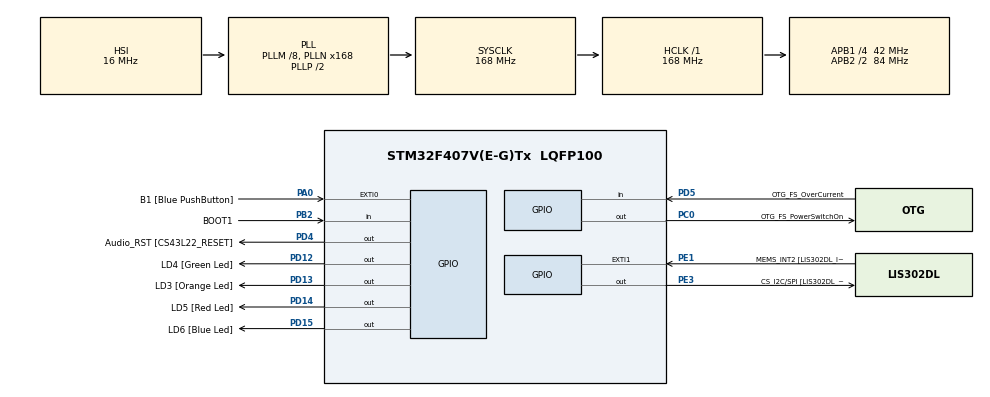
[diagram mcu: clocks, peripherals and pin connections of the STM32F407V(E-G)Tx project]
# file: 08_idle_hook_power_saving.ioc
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Mcu.Family=STM32F4
Mcu.Name=STM32F407V(E-G)Tx
Mcu.Package=LQFP100
NVIC.PriorityGroup=NVIC_PRIORITYGROUP_4
NVIC.TIM6_DAC_IRQn=true\:0\:0\:false\:false\:true\:false\:true\:true
NVIC.TimeBase=TIM6_DAC_IRQn
NVIC.TimeBaseIP=TIM6
PA0-WKUP.GPIO_Label=B1 [Blue PushButton]
PA0-WKUP.Signal=GPXTI0
PA10.GPIO_Label=OTG_FS_ID
PA10.GPIO_Mode=GPIO_MODE_AF_PP
PA10.GPIO_PuPd=GPIO_NOPULL
PA10.GPIO_Speed=GPIO_SPEED_FREQ_LOW
PA10.Signal=USB_OTG_FS_ID
PA11.GPIO_Label=OTG_FS_DM
PA11.GPIO_Mode=GPIO_MODE_AF_PP
PA11.GPIO_PuPd=GPIO_NOPULL
PA11.GPIO_Speed=GPIO_SPEED_FREQ_LOW
PA11.Signal=USB_OTG_FS_DM
PA12.GPIO_Label=OTG_FS_DP
PA12.GPIO_Mode=GPIO_MODE_AF_PP
PA12.GPIO_PuPd=GPIO_NOPULL
PA12.GPIO_Speed=GPIO_SPEED_FREQ_LOW
PA12.Signal=USB_OTG_FS_DP
PA13.GPIO_Label=SWDIO
PA13.Signal=SYS_JTMS-SWDIO
PA14.GPIO_Label=SWCLK
PA14.Signal=SYS_JTCK-SWCLK
PA4.GPIO_Label=I2S3_WS [CS43L22_LRCK]
PA4.GPIO_Mode=GPIO_MODE_AF_PP
PA4.GPIO_PuPd=GPIO_NOPULL
PA4.GPIO_Speed=GPIO_SPEED_FREQ_LOW
PA4.Signal=I2S3_WS
PA5.GPIO_Label=SPI1_SCK [LIS302DL_SCL/SPC]
PA5.GPIO_Mode=GPIO_MODE_AF_PP
PA5.GPIO_PuPd=GPIO_NOPULL
PA5.GPIO_Speed=GPIO_SPEED_FREQ_LOW
PA5.Signal=SPI1_SCK
PA6.GPIO_Label=SPI1_MISO [LIS302DL_SDO]
PA6.GPIO_Mode=GPIO_MODE_AF_PP
PA6.GPIO_PuPd=GPIO_NOPULL
PA6.GPIO_Speed=GPIO_SPEED_FREQ_LOW
PA6.Signal=SPI1_MISO
PA7.GPIO_Label=SPI1_MOSI [LIS302DL_SDA/SDI/SDO]
PA7.GPIO_Mode=GPIO_MODE_AF_PP
PA7.GPIO_PuPd=GPIO_NOPULL
PA7.GPIO_Speed=GPIO_SPEED_FREQ_LOW
PA7.Signal=SPI1_MOSI
PA9.GPIO_Label=VBUS_FS
PA9.GPIO_Mode=GPIO_MODE_INPUT
PA9.GPIO_PuPd=GPIO_NOPULL
PA9.Signal=USB_OTG_FS_VBUS
PB10.GPIO_Label=CLK_IN [MP45DT02_CLK]
PB10.GPIO_Mode=GPIO_MODE_AF_PP
PB10.GPIO_PuPd=GPIO_NOPULL
PB10.GPIO_Speed=GPIO_SPEED_FREQ_LOW
PB10.Signal=I2S2_CK
PB2.GPIO_Label=BOOT1
PB2.GPIO_Mode=GPIO_MODE_INPUT
PB2.GPIO_PuPd=GPIO_NOPULL
PB2.Signal=GPIO_Input
PB3.GPIO_Label=SWO
PB3.Signal=SYS_JTDO-SWO
PB6.GPIO_Label=Audio_SCL [CS43L22_SCL]
PB6.GPIO_Mode=GPIO_MODE_AF_OD
PB6.GPIO_PuPd=GPIO_NOPULL
PB6.GPIO_Speed=GPIO_SPEED_FREQ_LOW
PB6.Signal=I2C1_SCL
PB9.GPIO_Label=Audio_SDA [CS43L22_SDA]
PB9.GPIO_Mode=GPIO_MODE_AF_OD
PB9.GPIO_PuPd=GPIO_NOPULL
PB9.GPIO_Speed=GPIO_SPEED_FREQ_LOW
PB9.Signal=I2C1_SDA
PC0.GPIO_Label=OTG_FS_PowerSwitchOn
PC0.GPIO_PuPd=GPIO_NOPULL
PC0.GPIO_Speed=GPIO_SPEED_FREQ_LOW
PC0.PinState=GPIO_PIN_SET
PC0.Signal=GPIO_Output
PC10.GPIO_Label=I2S3_SCK [CS43L22_SCLK]
PC10.GPIO_Mode=GPIO_MODE_AF_PP
PC10.GPIO_PuPd=GPIO_NOPULL
PC10.GPIO_Speed=GPIO_SPEED_FREQ_LOW
PC10.Signal=I2S3_CK
PC12.GPIO_Label=I2S3_SD [CS43L22_SDIN]
PC12.GPIO_Mode=GPIO_MODE_AF_PP
PC12.GPIO_PuPd=GPIO_NOPULL
PC12.GPIO_Speed=GPIO_SPEED_FREQ_LOW
PC12.Signal=I2S3_SD
PC14-OSC32_IN.GPIO_Label=PC14-OSC32_IN
PC14-OSC32_IN.Signal=RCC_OSC32_IN
PC15-OSC32_OUT.GPIO_Label=PC15-OSC32_OUT
PC15-OSC32_OUT.Signal=RCC_OSC32_OUT
PC3.GPIO_Label=PDM_OUT [MP45DT02_DOUT]
PC3.GPIO_Mode=GPIO_MODE_AF_PP
PC3.GPIO_PuPd=GPIO_NOPULL
PC3.GPIO_Speed=GPIO_SPEED_FREQ_LOW
PC3.Signal=I2S2_SD
PC7.GPIO_Label=I2S3_MCK [CS43L22_MCLK]
PC7.GPIO_Mode=GPIO_MODE_AF_PP
PC7.GPIO_PuPd=GPIO_NOPULL
PC7.GPIO_Speed=GPIO_SPEED_FREQ_LOW
PC7.Signal=I2S3_MCK
PD12.GPIO_Label=LD4 [Green Led]
PD12.GPIO_PuPd=GPIO_NOPULL
PD12.GPIO_Speed=GPIO_SPEED_FREQ_LOW
PD12.Signal=GPIO_Output
PD13.GPIO_Label=LD3 [Orange Led]
PD13.GPIO_PuPd=GPIO_NOPULL
PD13.GPIO_Speed=GPIO_SPEED_FREQ_LOW
PD13.Signal=GPIO_Output
PD14.GPIO_Label=LD5 [Red Led]
PD14.GPIO_PuPd=GPIO_NOPULL
PD14.GPIO_Speed=GPIO_SPEED_FREQ_LOW
PD14.Signal=GPIO_Output
PD15.GPIO_Label=LD6 [Blue Led]
PD15.GPIO_PuPd=GPIO_NOPULL
PD15.GPIO_Speed=GPIO_SPEED_FREQ_LOW
PD15.Signal=GPIO_Output
PD4.GPIO_Label=Audio_RST [CS43L22_RESET]
PD4.GPIO_PuPd=GPIO_NOPULL
PD4.GPIO_Speed=GPIO_SPEED_FREQ_LOW
PD4.Signal=GPIO_Output
PD5.GPIO_Label=OTG_FS_OverCurrent
PD5.GPIO_Mode=GPIO_MODE_INPUT
PD5.GPIO_PuPd=GPIO_NOPULL
PD5.Signal=GPIO_Input
PE1.GPIO_Label=MEMS_INT2 [LIS302DL_INT2]
PE1.GPIO_ModeDefaultEXTI=GPIO_MODE_EVT_RISING
PE1.GPIO_PuPd=GPIO_NOPULL
PE1.Signal=GPXTI1
PE3.GPIO_Label=CS_I2C/SPI [LIS302DL_CS_I2C/SPI]
PE3.GPIO_PuPd=GPIO_NOPULL
PE3.GPIO_Speed=GPIO_SPEED_FREQ_LOW
PE3.Signal=GPIO_Output
PH0-OSC_IN.GPIO_Label=PH0-OSC_IN
PH0-OSC_IN.Signal=RCC_OSC_IN
PH1-OSC_OUT.GPIO_Label=PH1-OSC_OUT
PH1-OSC_OUT.Signal=RCC_OSC_OUT
ProjectManager.HeapSize=0x200
ProjectManager.StackSize=0x400
ProjectManager.TargetToolchain=STM32CubeIDE
RCC.48MHZClocksFreq_Value=48000000
RCC.AHBFreq_Value=168000000
RCC.APB1CLKDivider=RCC_HCLK_DIV4
RCC.APB1Freq_Value=42000000
RCC.APB1TimFreq_Value=84000000
RCC.APB2CLKDivider=RCC_HCLK_DIV2
RCC.APB2Freq_Value=84000000
RCC.APB2TimFreq_Value=168000000
RCC.CortexFreq_Value=168000000
RCC.HCLKFreq_Value=168000000
RCC.HSE_VALUE=8000000
RCC.HSI_VALUE=16000000
RCC.LSE_VALUE=32768
RCC.PLLM=8
RCC.PLLN=168
RCC.PLLQ=7
RCC.SYSCLKFreq_VALUE=168000000
RCC.SYSCLKSource=RCC_SYSCLKSOURCE_PLLCLK
RCC.VCOOutputFreq_Value=336000000
VP_SYS_VS_tim6.Mode=TIM6
board=STM32F407G-DISC1

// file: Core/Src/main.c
/* USER CODE BEGIN Header */
/**
  ******************************************************************************
  * @file           : main.c
  * @brief          : Main program body
  ******************************************************************************
  * @attention
  *
  * Copyright (c) 2024 STMicroelectronics.
  * All rights reserved.
  *
  * This software is licensed under terms that can be found in the LICENSE file
  * in the root directory of this software component.
  * If no LICENSE file comes with this software, it is provided AS-IS.
  *
  ******************************************************************************
  */
/* USER CODE END Header */
#include "main.h"

/* USER CODE BEGIN Includes */
#include "FreeRTOS.h"
#include "task.h"
/* USER CODE END Includes */

/* USER CODE BEGIN PD */
#define DWT_CTRL              (*(volatile uint32_t*)0xE0001000)
/* USER CODE END PD */

void SystemClock_Config(void);
static void MX_GPIO_Init(void);
/* USER CODE BEGIN PFP */
static void led_green_handler(void* parameters);
static void led_orange_handler(void* parameters);
static void led_red_handler(void* parameters);

extern void SEGGER_UART_init(uint32_t);

/* USER CODE END PFP */

int main(void)
{
  /* USER CODE BEGIN 1 */
  TaskHandle_t task1_handle;
  TaskHandle_t task2_handle;
  TaskHandle_t task3_handle;

  BaseType_t status;
  /* USER CODE END 1 */

  /* MCU Configuration--------------------------------------------------------*/

  /* Reset of all peripherals, Initializes the Flash interface and the Systick. */
  HAL_Init();

  /* Configure the system clock */
  SystemClock_Config();

  /* Initialize all configured peripherals */
  MX_GPIO_Init();
  /* USER CODE BEGIN 2 */

  SEGGER_UART_init(9600);

  // Enable the CYCCNT counter register - For SystemView Timestamp
  // Cortex-M4 Techinal Reference Manual page: 91
  DWT_CTRL |= (1 << 0);

  SEGGER_SYSVIEW_Conf();

  status = xTaskCreate(led_green_handler, "LED green task", 200, NULL, 2, &task1_handle);
  configASSERT(status == pdPASS);

  status = xTaskCreate(led_red_handler, "LED red task", 200, NULL, 2, &task2_handle);
  configASSERT(status==pdPASS);

  status = xTaskCreate(led_orange_handler, "LED orange task", 200, NULL, 2, &task3_handle);
  configASSERT(status==pdPASS);

  vTaskStartScheduler();

  /* USER CODE END 2 */

  /* Infinite loop */
  while (1)
  {

  }
}

void SystemClock_Config(void)
{
  RCC_OscInitTypeDef RCC_OscInitStruct = {0};
  RCC_ClkInitTypeDef RCC_ClkInitStruct = {0};

  /** Configure the main internal regulator output voltage
  */
  __HAL_RCC_PWR_CLK_ENABLE();
  __HAL_PWR_VOLTAGESCALING_CONFIG(PWR_REGULATOR_VOLTAGE_SCALE1);

  /** Initializes the RCC Oscillators according to the specified parameters
  * in the RCC_OscInitTypeDef structure.
  */
  RCC_OscInitStruct.OscillatorType = RCC_OSCILLATORTYPE_HSI;
  RCC_OscInitStruct.HSIState = RCC_HSI_ON;
  RCC_OscInitStruct.HSICalibrationValue = RCC_HSICALIBRATION_DEFAULT;
  RCC_OscInitStruct.PLL.PLLState = RCC_PLL_ON;
  RCC_OscInitStruct.PLL.PLLSource = RCC_PLLSOURCE_HSI;
  RCC_OscInitStruct.PLL.PLLM = 8;
  RCC_OscInitStruct.PLL.PLLN = 168;
  RCC_OscInitStruct.PLL.PLLP = RCC_PLLP_DIV2;
  RCC_OscInitStruct.PLL.PLLQ = 7;
  if (HAL_RCC_OscConfig(&RCC_OscInitStruct) != HAL_OK)
  {
    Error_Handler();
  }

  /** Initializes the CPU, AHB and APB buses clocks
  */
  RCC_ClkInitStruct.ClockType = RCC_CLOCKTYPE_HCLK|RCC_CLOCKTYPE_SYSCLK
                              |RCC_CLOCKTYPE_PCLK1|RCC_CLOCKTYPE_PCLK2;
  RCC_ClkInitStruct.SYSCLKSource = RCC_SYSCLKSOURCE_PLLCLK;
  RCC_ClkInitStruct.AHBCLKDivider = RCC_SYSCLK_DIV1;
  RCC_ClkInitStruct.APB1CLKDivider = RCC_HCLK_DIV4;
  RCC_ClkInitStruct.APB2CLKDivider = RCC_HCLK_DIV2;

  if (HAL_RCC_ClockConfig(&RCC_ClkInitStruct, FLASH_LATENCY_5) != HAL_OK)
  {
    Error_Handler();
  }
}

static void MX_GPIO_Init(void)
{
  GPIO_InitTypeDef GPIO_InitStruct = {0};

  /* GPIO Ports Clock Enable */
  __HAL_RCC_GPIOE_CLK_ENABLE();
  __HAL_RCC_GPIOC_CLK_ENABLE();
  __HAL_RCC_GPIOH_CLK_ENABLE();
  __HAL_RCC_GPIOA_CLK_ENABLE();
  __HAL_RCC_GPIOB_CLK_ENABLE();
  __HAL_RCC_GPIOD_CLK_ENABLE();

  /*Configure GPIO pin Output Level */
  HAL_GPIO_WritePin(CS_I2C_SPI_GPIO_Port, CS_I2C_SPI_Pin, GPIO_PIN_RESET);

  /*Configure GPIO pin Output Level */
  HAL_GPIO_WritePin(OTG_FS_PowerSwitchOn_GPIO_Port, OTG_FS_PowerSwitchOn_Pin, GPIO_PIN_SET);

  /*Configure GPIO pin Output Level */
  HAL_GPIO_WritePin(GPIOD, LD4_Pin|LD3_Pin|LD5_Pin|LD6_Pin
                          |Audio_RST_Pin, GPIO_PIN_RESET);

  /*Configure GPIO pin : CS_I2C_SPI_Pin */
  GPIO_InitStruct.Pin = CS_I2C_SPI_Pin;
  GPIO_InitStruct.Mode = GPIO_MODE_OUTPUT_PP;
  GPIO_InitStruct.Pull = GPIO_NOPULL;
  GPIO_InitStruct.Speed = GPIO_SPEED_FREQ_LOW;
  HAL_GPIO_Init(CS_I2C_SPI_GPIO_Port, &GPIO_InitStruct);

  /*Configure GPIO pin : OTG_FS_PowerSwitchOn_Pin */
  GPIO_InitStruct.Pin = OTG_FS_PowerSwitchOn_Pin;
  GPIO_InitStruct.Mode = GPIO_MODE_OUTPUT_PP;
  GPIO_InitStruct.Pull = GPIO_NOPULL;
  GPIO_InitStruct.Speed = GPIO_SPEED_FREQ_LOW;
  HAL_GPIO_Init(OTG_FS_PowerSwitchOn_GPIO_Port, &GPIO_InitStruct);

  /*Configure GPIO pin : PDM_OUT_Pin */
  GPIO_InitStruct.Pin = PDM_OUT_Pin;
  GPIO_InitStruct.Mode = GPIO_MODE_AF_PP;
  GPIO_InitStruct.Pull = GPIO_NOPULL;
  GPIO_InitStruct.Speed = GPIO_SPEED_FREQ_LOW;
  GPIO_InitStruct.Alternate = GPIO_AF5_SPI2;
  HAL_GPIO_Init(PDM_OUT_GPIO_Port, &GPIO_InitStruct);

  /*Configure GPIO pin : B1_Pin */
  GPIO_InitStruct.Pin = B1_Pin;
  GPIO_InitStruct.Mode = GPIO_MODE_IT_RISING;
  GPIO_InitStruct.Pull = GPIO_NOPULL;
  HAL_GPIO_Init(B1_GPIO_Port, &GPIO_InitStruct);

  /*Configure GPIO pin : I2S3_WS_Pin */
  GPIO_InitStruct.Pin = I2S3_WS_Pin;
  GPIO_InitStruct.Mode = GPIO_MODE_AF_PP;
  GPIO_InitStruct.Pull = GPIO_NOPULL;
  GPIO_InitStruct.Speed = GPIO_SPEED_FREQ_LOW;
  GPIO_InitStruct.Alternate = GPIO_AF6_SPI3;
  HAL_GPIO_Init(I2S3_WS_GPIO_Port, &GPIO_InitStruct);

  /*Configure GPIO pins : SPI1_SCK_Pin SPI1_MISO_Pin SPI1_MOSI_Pin */
  GPIO_InitStruct.Pin = SPI1_SCK_Pin|SPI1_MISO_Pin|SPI1_MOSI_Pin;
  GPIO_InitStruct.Mode = GPIO_MODE_AF_PP;
  GPIO_InitStruct.Pull = GPIO_NOPULL;
  GPIO_InitStruct.Speed = GPIO_SPEED_FREQ_LOW;
  GPIO_InitStruct.Alternate = GPIO_AF5_SPI1;
  HAL_GPIO_Init(GPIOA, &GPIO_InitStruct);

  /*Configure GPIO pin : BOOT1_Pin */
  GPIO_InitStruct.Pin = BOOT1_Pin;
  GPIO_InitStruct.Mode = GPIO_MODE_INPUT;
  GPIO_InitStruct.Pull = GPIO_NOPULL;
  HAL_GPIO_Init(BOOT1_GPIO_Port, &GPIO_InitStruct);

  /*Configure GPIO pin : CLK_IN_Pin */
  GPIO_InitStruct.Pin = CLK_IN_Pin;
  GPIO_InitStruct.Mode = GPIO_MODE_AF_PP;
  GPIO_InitStruct.Pull = GPIO_NOPULL;
  GPIO_InitStruct.Speed = GPIO_SPEED_FREQ_LOW;
  GPIO_InitStruct.Alternate = GPIO_AF5_SPI2;
  HAL_GPIO_Init(CLK_IN_GPIO_Port, &GPIO_InitStruct);

  /*Configure GPIO pins : LD4_Pin LD3_Pin LD5_Pin LD6_Pin
                           Audio_RST_Pin */
  GPIO_InitStruct.Pin = LD4_Pin|LD3_Pin|LD5_Pin|LD6_Pin
                          |Audio_RST_Pin;
  GPIO_InitStruct.Mode = GPIO_MODE_OUTPUT_PP;
  GPIO_InitStruct.Pull = GPIO_NOPULL;
  GPIO_InitStruct.Speed = GPIO_SPEED_FREQ_LOW;
  HAL_GPIO_Init(GPIOD, &GPIO_InitStruct);

  /*Configure GPIO pins : I2S3_MCK_Pin I2S3_SCK_Pin I2S3_SD_Pin */
  GPIO_InitStruct.Pin = I2S3_MCK_Pin|I2S3_SCK_Pin|I2S3_SD_Pin;
  GPIO_InitStruct.Mode = GPIO_MODE_AF_PP;
  GPIO_InitStruct.Pull = GPIO_NOPULL;
  GPIO_InitStruct.Speed = GPIO_SPEED_FREQ_LOW;
  GPIO_InitStruct.Alternate = GPIO_AF6_SPI3;
  HAL_GPIO_Init(GPIOC, &GPIO_InitStruct);

  /*Configure GPIO pin : VBUS_FS_Pin */
  GPIO_InitStruct.Pin = VBUS_FS_Pin;
  GPIO_InitStruct.Mode = GPIO_MODE_INPUT;
  GPIO_InitStruct.Pull = GPIO_NOPULL;
  HAL_GPIO_Init(VBUS_FS_GPIO_Port, &GPIO_InitStruct);

  /*Configure GPIO pins : OTG_FS_ID_Pin OTG_FS_DM_Pin OTG_FS_DP_Pin */
  GPIO_InitStruct.Pin = OTG_FS_ID_Pin|OTG_FS_DM_Pin|OTG_FS_DP_Pin;
  GPIO_InitStruct.Mode = GPIO_MODE_AF_PP;
  GPIO_InitStruct.Pull = GPIO_NOPULL;
  GPIO_InitStruct.Speed = GPIO_SPEED_FREQ_LOW;
  GPIO_InitStruct.Alternate = GPIO_AF10_OTG_FS;
  HAL_GPIO_Init(GPIOA, &GPIO_InitStruct);

  /*Configure GPIO pin : OTG_FS_OverCurrent_Pin */
  GPIO_InitStruct.Pin = OTG_FS_OverCurrent_Pin;
  GPIO_InitStruct.Mode = GPIO_MODE_INPUT;
  GPIO_InitStruct.Pull = GPIO_NOPULL;
  HAL_GPIO_Init(OTG_FS_OverCurrent_GPIO_Port, &GPIO_InitStruct);

  /*Configure GPIO pins : Audio_SCL_Pin Audio_SDA_Pin */
  GPIO_InitStruct.Pin = Audio_SCL_Pin|Audio_SDA_Pin;
  GPIO_InitStruct.Mode = GPIO_MODE_AF_OD;
  GPIO_InitStruct.Pull = GPIO_NOPULL;
  GPIO_InitStruct.Speed = GPIO_SPEED_FREQ_LOW;
  GPIO_InitStruct.Alternate = GPIO_AF4_I2C1;
  HAL_GPIO_Init(GPIOB, &GPIO_InitStruct);

  /*Configure GPIO pin : MEMS_INT2_Pin */
  GPIO_InitStruct.Pin = MEMS_INT2_Pin;
  GPIO_InitStruct.Mode = GPIO_MODE_EVT_RISING;
  GPIO_InitStruct.Pull = GPIO_NOPULL;
  HAL_GPIO_Init(MEMS_INT2_GPIO_Port, &GPIO_InitStruct);

}

/* USER CODE BEGIN 4 */
static void led_green_handler(void* parameters)
{
  while (1)
  {
//	SEGGER_SYSVIEW_PrintfTarget("Toggling green LED");
	HAL_GPIO_TogglePin(GPIOD, LED_GREEN_PIN);
	vTaskDelay(pdMS_TO_TICKS(1000));
  }
}

static void led_orange_handler(void* parameters)
{
  while (1)
  {
//	SEGGER_SYSVIEW_PrintfTarget("Toggling orange LED");
	HAL_GPIO_TogglePin(GPIOD, LED_ORANGE_PIN);
	vTaskDelay(pdMS_TO_TICKS(800));
  }
}

static void led_red_handler(void* parameters)
{
  while (1)
  {
//	SEGGER_SYSVIEW_PrintfTarget("Toggling red LED");
	HAL_GPIO_TogglePin(GPIOD, LED_RED_PIN);
	vTaskDelay(pdMS_TO_TICKS(400));
  }
}

void vApplicationIdleHook(void)
{
  HAL_PWR_EnterSLEEPMode(PWR_MAINREGULATOR_ON, PWR_SLEEPENTRY_WFI);
}

/* USER CODE END 4 */

void HAL_TIM_PeriodElapsedCallback(TIM_HandleTypeDef *htim)
{
  if (htim->Instance == TIM6) {
    HAL_IncTick();
  }
}

void Error_Handler(void)
{
  __disable_irq();
  while (1)
  {
  }
}
